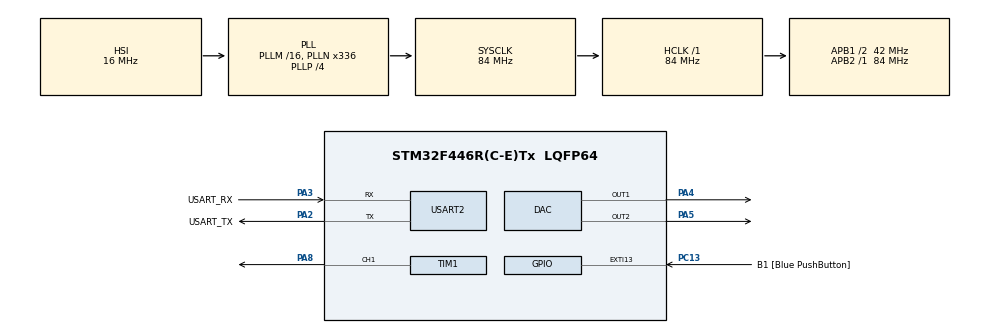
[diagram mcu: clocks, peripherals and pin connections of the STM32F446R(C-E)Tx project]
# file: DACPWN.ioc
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DAC.DAC_Trigger=DAC_TRIGGER_T6_TRGO
Dma.DAC1.0.Direction=DMA_MEMORY_TO_PERIPH
Dma.DAC1.0.FIFOMode=DMA_FIFOMODE_DISABLE
Dma.DAC1.0.Instance=DMA1_Stream5
Dma.DAC1.0.MemDataAlignment=DMA_MDATAALIGN_HALFWORD
Dma.DAC1.0.MemInc=DMA_MINC_ENABLE
Dma.DAC1.0.Mode=DMA_CIRCULAR
Dma.DAC1.0.PeriphDataAlignment=DMA_PDATAALIGN_HALFWORD
Dma.DAC1.0.PeriphInc=DMA_PINC_DISABLE
Dma.DAC1.0.Priority=DMA_PRIORITY_LOW
Dma.Request0=DAC1
Mcu.Family=STM32F4
Mcu.Name=STM32F446R(C-E)Tx
Mcu.Package=LQFP64
NVIC.DMA1_Stream5_IRQn=true\:0\:0\:false\:false\:true\:false\:true\:true
NVIC.PriorityGroup=NVIC_PRIORITYGROUP_0
NVIC.TIM6_DAC_IRQn=true\:0\:0\:false\:false\:true\:true\:true\:true
PA13.GPIO_Label=TMS
PA13.Signal=SYS_JTMS-SWDIO
PA14.GPIO_Label=TCK
PA14.Signal=SYS_JTCK-SWCLK
PA2.GPIO_Label=USART_TX
PA2.Mode=Asynchronous
PA2.Signal=USART2_TX
PA3.GPIO_Label=USART_RX
PA3.Mode=Asynchronous
PA3.Signal=USART2_RX
PA4.Signal=COMP_DAC1_group
PA5.Signal=COMP_DAC2_group
PA8.Signal=S_TIM1_CH1
PB3.GPIO_Label=SWO
PB3.Signal=SYS_JTDO-SWO
PC13.GPIO_Label=B1 [Blue PushButton]
PC13.GPIO_ModeDefaultEXTI=GPIO_MODE_IT_FALLING
PC13.Signal=GPXTI13
PC14-OSC32_IN.Signal=RCC_OSC32_IN
PC15-OSC32_OUT.Signal=RCC_OSC32_OUT
PH0-OSC_IN.Signal=RCC_OSC_IN
PH1-OSC_OUT.Signal=RCC_OSC_OUT
ProjectManager.HeapSize=0x200
ProjectManager.StackSize=0x400
ProjectManager.TargetToolchain=STM32CubeIDE
RCC.AHBFreq_Value=84000000
RCC.APB1CLKDivider=RCC_HCLK_DIV2
RCC.APB1Freq_Value=42000000
RCC.APB1TimFreq_Value=84000000
RCC.APB2Freq_Value=84000000
RCC.APB2TimFreq_Value=84000000
RCC.CortexFreq_Value=84000000
RCC.FLatency-AdvancedSettings=FLASH_LATENCY_2
RCC.HCLKFreq_Value=84000000
RCC.HSE_VALUE=8000000
RCC.HSI_VALUE=16000000
RCC.LSE_VALUE=32768
RCC.PLLN=336
RCC.PLLP=RCC_PLLP_DIV4
RCC.SYSCLKFreq_VALUE=84000000
RCC.SYSCLKSource=RCC_SYSCLKSOURCE_PLLCLK
RCC.USBFreq_Value=168000000
RCC.VCOOutputFreq_Value=336000000
SH.COMP_DAC1_group.0=DAC_OUT1,DAC_OUT1
SH.COMP_DAC2_group.0=DAC_OUT2,DAC_OUT2
SH.S_TIM1_CH1.0=TIM1_CH1,PWM Generation1 CH1
TIM1.Channel-PWM\ Generation1\ CH1=TIM_CHANNEL_1
TIM1.Period=255
TIM1.Prescaler=82
TIM6.Period=22
TIM6.Prescaler=83
TIM6.TIM_MasterOutputTrigger=TIM_TRGO_UPDATE
USART2.VirtualMode=VM_ASYNC
VP_TIM6_VS_ClockSourceINT.Mode=Enable_Timer
board=NUCLEO-F446RE

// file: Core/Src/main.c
/* USER CODE BEGIN Header */
/**
  ******************************************************************************
  * @file           : main.c
  * @brief          : Main program body
  ******************************************************************************
  * @attention
  *
  * Copyright (c) 2026 STMicroelectronics.
  * All rights reserved.
  *
  * This software is licensed under terms that can be found in the LICENSE file
  * in the root directory of this software component.
  * If no LICENSE file comes with this software, it is provided AS-IS.
  *
  ******************************************************************************
  */
/* USER CODE END Header */
#include "main.h"

/* USER CODE BEGIN Includes */
#include <string.h>
#include <math.h>
/* USER CODE END Includes */

DAC_HandleTypeDef hdac;
DMA_HandleTypeDef hdma_dac1;

TIM_HandleTypeDef htim1;
TIM_HandleTypeDef htim6;

UART_HandleTypeDef huart2;

/* USER CODE BEGIN PV */
#define  SINE_SAMPLES 128
uint8_t sineWave[SINE_SAMPLES];
uint32_t sineLength = SINE_SAMPLES;
uint8_t *currentAudio;
uint32_t currentLength;

uint8_t mode = 0; // 1 = DAC, 2 = PWM
// Frecuencias básicas estilo Mario

// Frecuencias aproximadas de notas (Hz)
#define NOTE_C4  262
#define NOTE_D4  294
#define NOTE_E4  330
#define NOTE_F4  349
#define NOTE_G4  392
#define NOTE_A4  440
#define NOTE_B4  494
#define NOTE_A2  110
#define NOTE_D3  147
#define NOTE_F3  175
#define NOTE_G3  196
#define NOTE_A3  220
#define NOTE_C4  262
#define NOTE_D4  294
#define NOTE_E4  330
#define NOTE_C4  262
#define NOTE_E4  330
#define NOTE_G4  392
#define NOTE_C3  131
#define NOTE_D3  147
#define NOTE_E3  165
#define NOTE_F3  175
#define NOTE_G3  196
#define NOTE_A3  220
#define NOTE_B3  247
#define NOTE_B3  247
#define NOTE_C4  262
#define NOTE_D4  294
#define NOTE_E4  330
#define NOTE_F4  349
#define NOTE_G4  392
#define NOTE_A3  220

// Notas ya definidas arriba (NOTE_C4, NOTE_D4, NOTE_E4, NOTE_G4, NOTE_A4)

uint16_t melody[] = {
    // Intro
    NOTE_E4, NOTE_E4, NOTE_E4, NOTE_C4, NOTE_E4, NOTE_G4, NOTE_A4,
    // Repite variación
    NOTE_E4, NOTE_E4, NOTE_E4, NOTE_C4, NOTE_E4, NOTE_G4, NOTE_A4,
    // Parte intermedia
    NOTE_A4, NOTE_G4, NOTE_E4, NOTE_C4, NOTE_D4, NOTE_E4,
    // Cierre
    NOTE_E4, NOTE_C4, NOTE_G4, NOTE_A4, NOTE_E4
};

uint16_t noteDurations[] = {
    // Intro
    4,4,4,4,4,4,2,
    // Repite variación
    4,4,4,4,4,4,2,
    // Parte intermedia
    4,4,4,4,4,2,
    // Cierre
    4,4,4,4,2
};

uint32_t melodyLength = sizeof(melody) / sizeof(melody[0]);

// Fragmento estilo DOOM (riff grave extendido)
uint16_t doomMelody[] = {
    // Intro
    NOTE_A2, NOTE_A2, NOTE_D3, NOTE_F3,
    NOTE_A2, NOTE_G3, NOTE_F3, NOTE_D3,
    NOTE_A2, NOTE_A3, NOTE_G3, NOTE_F3,

    // Variación 1
    NOTE_A2, NOTE_D3, NOTE_F3, NOTE_G3,
    NOTE_A2, NOTE_A3, NOTE_D4, NOTE_E4,

    // Variación 2 (más aguda)
    NOTE_A3, NOTE_G3, NOTE_F3, NOTE_D3,
    NOTE_A3, NOTE_C4, NOTE_D4, NOTE_E4,

    // Cierre
    NOTE_A2, NOTE_A2, NOTE_D3, NOTE_F3,
    NOTE_A2, NOTE_G3, NOTE_F3, NOTE_D3,

	NOTE_A2, NOTE_D3, NOTE_F3, NOTE_G3,
	NOTE_A2, NOTE_A3, NOTE_D4, NOTE_E4
};

uint16_t doomDurations[] = {
    // Intro
    4,4,4,4, 4,4,4,4, 2,2,2,2,
    // Variación 1
    4,4,4,4, 4,4,4,4,
    // Variación 2
    4,4,4,4, 4,4,4,4,
    // Cierre
    4,4,4,4, 4,4,4,4,
	4,4,4,4, 4,4,4,4
};

uint32_t doomLength = sizeof(doomMelody) / sizeof(doomMelody[0]);

// Fragmento del tema de Tetris
uint16_t tetrisMelody[] = {
    NOTE_E4, NOTE_B3, NOTE_C4, NOTE_D4, NOTE_C4, NOTE_B3,
    NOTE_A3, NOTE_A3, NOTE_C4, NOTE_E4, NOTE_D4, NOTE_C4,
    NOTE_B3, NOTE_B3, NOTE_C4, NOTE_D4, NOTE_E4, NOTE_C4, NOTE_A3,
	NOTE_E4, NOTE_B3, NOTE_C4, NOTE_D4, NOTE_C4, NOTE_B3,
	NOTE_A3, NOTE_A3
};

uint16_t tetrisDurations[] = {
    4,4,4,4,4,4,
    2,2,4,4,4,4,
    2,2,4,4,4,4,2,
	4,4,4,4,4,4, 2,2
};

uint32_t tetrisLength = sizeof(tetrisMelody)/sizeof(tetrisMelody[0]);

float phase = 0;
float step = 0;

/* USER CODE END PV */

void SystemClock_Config(void);
static void MX_GPIO_Init(void);
static void MX_DMA_Init(void);
static void MX_DAC_Init(void);
static void MX_TIM1_Init(void);
static void MX_USART2_UART_Init(void);
static void MX_TIM6_Init(void);

/* USER CODE BEGIN 0 */
void playDAC1(void);
void playDAC2(void);
void playPWM1(void);
void playPWM2(void);
void playSonic(void);
void playDOOM(void);
void playMarioDAC(void);
void playTetrisDAC(void);
void playSonicDAC(void);
void playDOOMDAC(void);
void generateSineWave(void);

/* USER CODE END 0 */

int main(void)
{

  /* MCU Configuration--------------------------------------------------------*/

  /* Reset of all peripherals, Initializes the Flash interface and the Systick. */
  HAL_Init();

  /* USER CODE BEGIN Init */
  generateSineWave();
  /* USER CODE END Init */

  /* Configure the system clock */
  SystemClock_Config();

  /* Initialize all configured peripherals */
  MX_GPIO_Init();
  MX_DMA_Init();
  MX_DAC_Init();
  MX_TIM1_Init();
  MX_USART2_UART_Init();
  MX_TIM6_Init();
  /* USER CODE BEGIN 2 */
  HAL_TIM_Base_Start_IT(&htim6);   // Inicia TIM6 con interrupción

  // Inicia UART, DAC y PWM
  HAL_DAC_Start_DMA(&hdac, DAC_CHANNEL_1, (uint32_t*)sineWave, sineLength, DAC_ALIGN_8B_R);
  HAL_TIM_PWM_Start(&htim1, TIM_CHANNEL_1);

  // Mensaje de bienvenida
  char msg[] = "\r\n=== MENU AUDIO ===\r\n"
               "1. Sonic PWM \r\n"
               "2. Doom PWM \r\n"
               "3. Tetris DAC\r\n"
               "4. Sonic DAC\r\n"
               "5. Doom DAC\r\n"
               "Seleccione opcion: ";

  HAL_UART_Transmit(&huart2, (uint8_t*)msg, strlen(msg), HAL_MAX_DELAY);

  /* USER CODE END 2 */

  /* Infinite loop */
  /* USER CODE BEGIN WHILE */
  while (1)
  {
	  uint8_t rxData;
	  HAL_UART_Receive(&huart2, &rxData, 1, HAL_MAX_DELAY);

	  if (rxData == '1') {
	      playSonic();
	  } else if (rxData == '2') {
	      playDOOM();
	  } else if (rxData == '3') {
	      playTetrisDAC();
	  } else if (rxData == '4') {
	      playSonicDAC();
	  } else if (rxData == '5') {
	      playDOOMDAC();
	  }

    /* USER CODE END WHILE */

  }
}

void SystemClock_Config(void)
{
  RCC_OscInitTypeDef RCC_OscInitStruct = {0};
  RCC_ClkInitTypeDef RCC_ClkInitStruct = {0};

  /** Configure the main internal regulator output voltage
  */
  __HAL_RCC_PWR_CLK_ENABLE();
  __HAL_PWR_VOLTAGESCALING_CONFIG(PWR_REGULATOR_VOLTAGE_SCALE3);

  /** Initializes the RCC Oscillators according to the specified parameters
  * in the RCC_OscInitTypeDef structure.
  */
  RCC_OscInitStruct.OscillatorType = RCC_OSCILLATORTYPE_HSI;
  RCC_OscInitStruct.HSIState = RCC_HSI_ON;
  RCC_OscInitStruct.HSICalibrationValue = RCC_HSICALIBRATION_DEFAULT;
  RCC_OscInitStruct.PLL.PLLState = RCC_PLL_ON;
  RCC_OscInitStruct.PLL.PLLSource = RCC_PLLSOURCE_HSI;
  RCC_OscInitStruct.PLL.PLLM = 16;
  RCC_OscInitStruct.PLL.PLLN = 336;
  RCC_OscInitStruct.PLL.PLLP = RCC_PLLP_DIV4;
  RCC_OscInitStruct.PLL.PLLQ = 2;
  RCC_OscInitStruct.PLL.PLLR = 2;
  if (HAL_RCC_OscConfig(&RCC_OscInitStruct) != HAL_OK)
  {
    Error_Handler();
  }

  /** Initializes the CPU, AHB and APB buses clocks
  */
  RCC_ClkInitStruct.ClockType = RCC_CLOCKTYPE_HCLK|RCC_CLOCKTYPE_SYSCLK
                              |RCC_CLOCKTYPE_PCLK1|RCC_CLOCKTYPE_PCLK2;
  RCC_ClkInitStruct.SYSCLKSource = RCC_SYSCLKSOURCE_PLLCLK;
  RCC_ClkInitStruct.AHBCLKDivider = RCC_SYSCLK_DIV1;
  RCC_ClkInitStruct.APB1CLKDivider = RCC_HCLK_DIV2;
  RCC_ClkInitStruct.APB2CLKDivider = RCC_HCLK_DIV1;

  if (HAL_RCC_ClockConfig(&RCC_ClkInitStruct, FLASH_LATENCY_2) != HAL_OK)
  {
    Error_Handler();
  }
}

static void MX_DAC_Init(void)
{

  DAC_ChannelConfTypeDef sConfig = {0};

  /** DAC Initialization
  */
  hdac.Instance = DAC;
  if (HAL_DAC_Init(&hdac) != HAL_OK)
  {
    Error_Handler();
  }

  /** DAC channel OUT1 config
  */
  sConfig.DAC_Trigger = DAC_TRIGGER_T6_TRGO;
  sConfig.DAC_OutputBuffer = DAC_OUTPUTBUFFER_ENABLE;
  if (HAL_DAC_ConfigChannel(&hdac, &sConfig, DAC_CHANNEL_1) != HAL_OK)
  {
    Error_Handler();
  }

  /** DAC channel OUT2 config
  */
  sConfig.DAC_Trigger = DAC_TRIGGER_NONE;
  if (HAL_DAC_ConfigChannel(&hdac, &sConfig, DAC_CHANNEL_2) != HAL_OK)
  {
    Error_Handler();
  }

}

static void MX_TIM1_Init(void)
{

  TIM_MasterConfigTypeDef sMasterConfig = {0};
  TIM_OC_InitTypeDef sConfigOC = {0};
  TIM_BreakDeadTimeConfigTypeDef sBreakDeadTimeConfig = {0};

  htim1.Instance = TIM1;
  htim1.Init.Prescaler = 82;
  htim1.Init.CounterMode = TIM_COUNTERMODE_UP;
  htim1.Init.Period = 255;
  htim1.Init.ClockDivision = TIM_CLOCKDIVISION_DIV1;
  htim1.Init.RepetitionCounter = 0;
  htim1.Init.AutoReloadPreload = TIM_AUTORELOAD_PRELOAD_DISABLE;
  if (HAL_TIM_PWM_Init(&htim1) != HAL_OK)
  {
    Error_Handler();
  }
  sMasterConfig.MasterOutputTrigger = TIM_TRGO_RESET;
  sMasterConfig.MasterSlaveMode = TIM_MASTERSLAVEMODE_DISABLE;
  if (HAL_TIMEx_MasterConfigSynchronization(&htim1, &sMasterConfig) != HAL_OK)
  {
    Error_Handler();
  }
  sConfigOC.OCMode = TIM_OCMODE_PWM1;
  sConfigOC.Pulse = 0;
  sConfigOC.OCPolarity = TIM_OCPOLARITY_HIGH;
  sConfigOC.OCNPolarity = TIM_OCNPOLARITY_HIGH;
  sConfigOC.OCFastMode = TIM_OCFAST_DISABLE;
  sConfigOC.OCIdleState = TIM_OCIDLESTATE_RESET;
  sConfigOC.OCNIdleState = TIM_OCNIDLESTATE_RESET;
  if (HAL_TIM_PWM_ConfigChannel(&htim1, &sConfigOC, TIM_CHANNEL_1) != HAL_OK)
  {
    Error_Handler();
  }
  sBreakDeadTimeConfig.OffStateRunMode = TIM_OSSR_DISABLE;
  sBreakDeadTimeConfig.OffStateIDLEMode = TIM_OSSI_DISABLE;
  sBreakDeadTimeConfig.LockLevel = TIM_LOCKLEVEL_OFF;
  sBreakDeadTimeConfig.DeadTime = 0;
  sBreakDeadTimeConfig.BreakState = TIM_BREAK_DISABLE;
  sBreakDeadTimeConfig.BreakPolarity = TIM_BREAKPOLARITY_HIGH;
  sBreakDeadTimeConfig.AutomaticOutput = TIM_AUTOMATICOUTPUT_DISABLE;
  if (HAL_TIMEx_ConfigBreakDeadTime(&htim1, &sBreakDeadTimeConfig) != HAL_OK)
  {
    Error_Handler();
  }
  HAL_TIM_MspPostInit(&htim1);

}

static void MX_TIM6_Init(void)
{

  TIM_MasterConfigTypeDef sMasterConfig = {0};

  htim6.Instance = TIM6;
  htim6.Init.Prescaler = 83;
  htim6.Init.CounterMode = TIM_COUNTERMODE_UP;
  htim6.Init.Period = 22;
  htim6.Init.AutoReloadPreload = TIM_AUTORELOAD_PRELOAD_DISABLE;
  if (HAL_TIM_Base_Init(&htim6) != HAL_OK)
  {
    Error_Handler();
  }
  sMasterConfig.MasterOutputTrigger = TIM_TRGO_UPDATE;
  sMasterConfig.MasterSlaveMode = TIM_MASTERSLAVEMODE_DISABLE;
  if (HAL_TIMEx_MasterConfigSynchronization(&htim6, &sMasterConfig) != HAL_OK)
  {
    Error_Handler();
  }

}

static void MX_USART2_UART_Init(void)
{

  huart2.Instance = USART2;
  huart2.Init.BaudRate = 115200;
  huart2.Init.WordLength = UART_WORDLENGTH_8B;
  huart2.Init.StopBits = UART_STOPBITS_1;
  huart2.Init.Parity = UART_PARITY_NONE;
  huart2.Init.Mode = UART_MODE_TX_RX;
  huart2.Init.HwFlowCtl = UART_HWCONTROL_NONE;
  huart2.Init.OverSampling = UART_OVERSAMPLING_16;
  if (HAL_UART_Init(&huart2) != HAL_OK)
  {
    Error_Handler();
  }

}

static void MX_DMA_Init(void)
{

  /* DMA controller clock enable */
  __HAL_RCC_DMA1_CLK_ENABLE();

  /* DMA interrupt init */
  /* DMA1_Stream5_IRQn interrupt configuration */
  HAL_NVIC_SetPriority(DMA1_Stream5_IRQn, 0, 0);
  HAL_NVIC_EnableIRQ(DMA1_Stream5_IRQn);

}

static void MX_GPIO_Init(void)
{
  GPIO_InitTypeDef GPIO_InitStruct = {0};

  /* GPIO Ports Clock Enable */
  __HAL_RCC_GPIOC_CLK_ENABLE();
  __HAL_RCC_GPIOH_CLK_ENABLE();
  __HAL_RCC_GPIOA_CLK_ENABLE();
  __HAL_RCC_GPIOB_CLK_ENABLE();

  /*Configure GPIO pin : B1_Pin */
  GPIO_InitStruct.Pin = B1_Pin;
  GPIO_InitStruct.Mode = GPIO_MODE_IT_FALLING;
  GPIO_InitStruct.Pull = GPIO_NOPULL;
  HAL_GPIO_Init(B1_GPIO_Port, &GPIO_InitStruct);

}

/* USER CODE BEGIN 4 */

// Arreglo de audio (ejemplo: onda senoidal de 256 muestras)
extern uint8_t audioData[];
extern uint32_t audioLength;

void playSonic(void) {
    uint32_t totalTime = 0;

    for (uint32_t i = 0; i < melodyLength && totalTime < 10000; i++) {
        uint32_t freq = melody[i];
        uint32_t duration = 200 / noteDurations[i]; // ms

        // Configura TIM1 para la frecuencia
        htim1.Init.Period = (84000000 / (freq * 84)) - 1;
        HAL_TIM_PWM_Init(&htim1);

        __HAL_TIM_SET_COMPARE(&htim1, TIM_CHANNEL_1, htim1.Init.Period / 2);

        HAL_Delay(duration);
        totalTime += duration;

        // Silencio entre notas
        __HAL_TIM_SET_COMPARE(&htim1, TIM_CHANNEL_1, 0);
        HAL_Delay(50);
        totalTime += 50;
    }
}
void playDOOM(void) {
    uint32_t totalTime = 0;

    for (uint32_t i = 0; i < doomLength && totalTime < 10000; i++) {
        uint32_t freq = doomMelody[i];
        uint32_t duration = 1000 / doomDurations[i]; // ms

        // Configura TIM1 para la frecuencia
        htim1.Init.Period = (84000000 / (freq * 84)) - 1;
        HAL_TIM_PWM_Init(&htim1);

        __HAL_TIM_SET_COMPARE(&htim1, TIM_CHANNEL_1, htim1.Init.Period / 2);

        HAL_Delay(duration);
        totalTime += duration;

        // Silencio breve entre notas
        __HAL_TIM_SET_COMPARE(&htim1, TIM_CHANNEL_1, 0);
        HAL_Delay(50);
        totalTime += 50;
    }
}

void playTetrisDAC(void) {
    mode = 1; // DAC
    currentAudio = sineWave;
    currentLength = sineLength;

    for (uint32_t i = 0; i < tetrisLength; i++) {
        uint32_t freq = tetrisMelody[i];
        uint32_t duration = 1000 / tetrisDurations[i]; // ms

        step = (freq * SINE_SAMPLES) / 45000.0;

        HAL_Delay(duration);

        HAL_DAC_SetValue(&hdac, DAC_CHANNEL_1, DAC_ALIGN_8B_R, 128);
        HAL_Delay(50);

    }
        step = 0; // detiene el avance en el buffer
        HAL_DAC_SetValue(&hdac, DAC_CHANNEL_1, DAC_ALIGN_8B_R, 128); // silencio
}

void playDOOM_DAC(void) {
    mode = 1; // DAC
    currentAudio = sineWave;
    currentLength = sineLength;

    for (uint32_t i = 0; i < doomLength; i++) {
        uint32_t freq = doomMelody[i];
        uint32_t duration = 1000 / doomDurations[i]; // ms

        step = (freq * SINE_SAMPLES) / 45000.0;

        HAL_Delay(duration);

        HAL_DAC_SetValue(&hdac, DAC_CHANNEL_1, DAC_ALIGN_8B_R, 128);
        HAL_Delay(50);

    }
        step = 0; // detiene el avance en el buffer
        HAL_DAC_SetValue(&hdac, DAC_CHANNEL_1, DAC_ALIGN_8B_R, 128); // silencio
}

void playMelodyDAC(uint16_t *melody, uint16_t *durations, uint32_t length) {
    mode = 1; // DAC
    currentAudio = sineWave;
    currentLength = sineLength;

    for (uint32_t i = 0; i < length; i++) {
        uint32_t freq = melody[i];
        uint32_t duration = 1000 / durations[i]; // ms

        step = (freq * SINE_SAMPLES) / 45000.0;

        HAL_Delay(duration);

        HAL_DAC_SetValue(&hdac, DAC_CHANNEL_1, DAC_ALIGN_8B_R, 128);
        HAL_Delay(50);

    }
        step = 0; // detiene el avance en el buffer
        HAL_DAC_SetValue(&hdac, DAC_CHANNEL_1, DAC_ALIGN_8B_R, 128); // silencio
}

void playSonicDAC(void) {
    playMelodyDAC(melody, noteDurations, melodyLength);
}

void playDOOMDAC(void) {
    playMelodyDAC(doomMelody, doomDurations, doomLength);
}

void generateSineWave(void) {
    for (int i = 0; i < SINE_SAMPLES; i++) {
        sineWave[i] = (uint8_t)(128 + 127 * sin(2 * M_PI * i / SINE_SAMPLES));
    }
}
void HAL_TIM_PeriodElapsedCallback(TIM_HandleTypeDef *htim) {
    if (htim->Instance == TIM6 && mode == 1) {
        HAL_DAC_SetValue(&hdac, DAC_CHANNEL_1, DAC_ALIGN_8B_R, sineWave[(int)phase]);
        phase += step;
        if (phase >= SINE_SAMPLES) phase -= SINE_SAMPLES;
    }
    else if (htim->Instance == TIM6 && mode == 2) {
        static uint32_t i = 0;
        __HAL_TIM_SET_COMPARE(&htim1, TIM_CHANNEL_1, currentAudio[i]);
        i++;
        if (i >= currentLength) i = 0;
    }
}

/* USER CODE END 4 */

void Error_Handler(void)
{
  __disable_irq();
  while (1)
  {
  }
}
